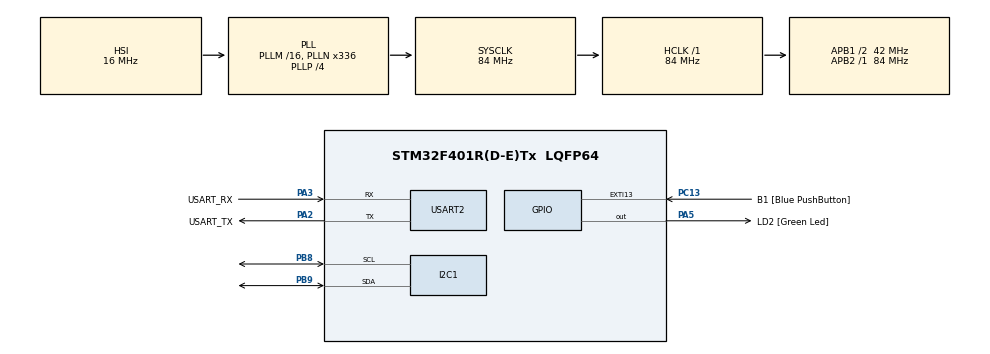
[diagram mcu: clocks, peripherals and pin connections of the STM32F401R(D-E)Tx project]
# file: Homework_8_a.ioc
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Dma.I2C1_RX.0.Direction=DMA_PERIPH_TO_MEMORY
Dma.I2C1_RX.0.FIFOMode=DMA_FIFOMODE_DISABLE
Dma.I2C1_RX.0.Instance=DMA1_Stream0
Dma.I2C1_RX.0.MemDataAlignment=DMA_MDATAALIGN_BYTE
Dma.I2C1_RX.0.MemInc=DMA_MINC_ENABLE
Dma.I2C1_RX.0.Mode=DMA_NORMAL
Dma.I2C1_RX.0.PeriphDataAlignment=DMA_PDATAALIGN_BYTE
Dma.I2C1_RX.0.PeriphInc=DMA_PINC_DISABLE
Dma.I2C1_RX.0.Priority=DMA_PRIORITY_LOW
Dma.I2C1_TX.1.Direction=DMA_MEMORY_TO_PERIPH
Dma.I2C1_TX.1.FIFOMode=DMA_FIFOMODE_DISABLE
Dma.I2C1_TX.1.Instance=DMA1_Stream7
Dma.I2C1_TX.1.MemDataAlignment=DMA_MDATAALIGN_BYTE
Dma.I2C1_TX.1.MemInc=DMA_MINC_ENABLE
Dma.I2C1_TX.1.Mode=DMA_NORMAL
Dma.I2C1_TX.1.PeriphDataAlignment=DMA_PDATAALIGN_BYTE
Dma.I2C1_TX.1.PeriphInc=DMA_PINC_DISABLE
Dma.I2C1_TX.1.Priority=DMA_PRIORITY_LOW
Dma.Request0=I2C1_RX
Dma.Request1=I2C1_TX
Dma.Request2=USART2_TX
Dma.USART2_TX.2.Direction=DMA_MEMORY_TO_PERIPH
Dma.USART2_TX.2.FIFOMode=DMA_FIFOMODE_DISABLE
Dma.USART2_TX.2.Instance=DMA1_Stream6
Dma.USART2_TX.2.MemDataAlignment=DMA_MDATAALIGN_BYTE
Dma.USART2_TX.2.MemInc=DMA_MINC_ENABLE
Dma.USART2_TX.2.Mode=DMA_NORMAL
Dma.USART2_TX.2.PeriphDataAlignment=DMA_PDATAALIGN_BYTE
Dma.USART2_TX.2.PeriphInc=DMA_PINC_DISABLE
Dma.USART2_TX.2.Priority=DMA_PRIORITY_LOW
Mcu.Family=STM32F4
Mcu.Name=STM32F401R(D-E)Tx
Mcu.Package=LQFP64
NVIC.DMA1_Stream0_IRQn=true\:0\:0\:false\:false\:true\:false\:true\:true
NVIC.DMA1_Stream6_IRQn=true\:0\:0\:false\:false\:true\:false\:true\:true
NVIC.DMA1_Stream7_IRQn=true\:0\:0\:false\:false\:true\:false\:true\:true
NVIC.I2C1_ER_IRQn=true\:0\:0\:false\:false\:true\:true\:true\:true
NVIC.I2C1_EV_IRQn=true\:0\:0\:false\:false\:true\:true\:true\:true
NVIC.PriorityGroup=NVIC_PRIORITYGROUP_0
NVIC.TIM3_IRQn=true\:0\:0\:false\:false\:true\:true\:true\:true
NVIC.USART2_IRQn=true\:0\:0\:false\:false\:true\:true\:true\:true
PA13.GPIO_Label=TMS
PA13.Mode=Serial_Wire
PA13.Signal=SYS_JTMS-SWDIO
PA14.GPIO_Label=TCK
PA14.Mode=Serial_Wire
PA14.Signal=SYS_JTCK-SWCLK
PA2.GPIO_Label=USART_TX
PA2.GPIO_Mode=GPIO_MODE_AF_PP
PA2.GPIO_PuPd=GPIO_NOPULL
PA2.GPIO_Speed=GPIO_SPEED_FREQ_LOW
PA2.Mode=Asynchronous
PA2.Signal=USART2_TX
PA3.GPIO_Label=USART_RX
PA3.GPIO_Mode=GPIO_MODE_AF_PP
PA3.GPIO_PuPd=GPIO_NOPULL
PA3.GPIO_Speed=GPIO_SPEED_FREQ_LOW
PA3.Mode=Asynchronous
PA3.Signal=USART2_RX
PA5.GPIO_Label=LD2 [Green Led]
PA5.GPIO_Mode=GPIO_MODE_OUTPUT_PP
PA5.GPIO_PuPd=GPIO_NOPULL
PA5.GPIO_Speed=GPIO_SPEED_FREQ_LOW
PA5.Signal=GPIO_Output
PB3.GPIO_Label=SWO
PB3.Signal=SYS_JTDO-SWO
PB8.Mode=I2C
PB8.Signal=I2C1_SCL
PB9.Mode=I2C
PB9.Signal=I2C1_SDA
PC13-ANTI_TAMP.GPIO_Label=B1 [Blue PushButton]
PC13-ANTI_TAMP.GPIO_ModeDefaultEXTI=GPIO_MODE_IT_FALLING
PC13-ANTI_TAMP.GPIO_PuPd=GPIO_NOPULL
PC13-ANTI_TAMP.Signal=GPXTI13
PC14-OSC32_IN.Mode=LSE-External-Oscillator
PC14-OSC32_IN.Signal=RCC_OSC32_IN
PC15-OSC32_OUT.Mode=LSE-External-Oscillator
PC15-OSC32_OUT.Signal=RCC_OSC32_OUT
PH0\ -\ OSC_IN.Mode=HSE-External-Clock-Source
PH0\ -\ OSC_IN.Signal=RCC_OSC_IN
PH1\ -\ OSC_OUT.Mode=HSE-External-Clock-Source
PH1\ -\ OSC_OUT.Signal=RCC_OSC_OUT
ProjectManager.HeapSize=0x200
ProjectManager.StackSize=0x400
ProjectManager.TargetToolchain=STM32CubeIDE
RCC.48MHZClocksFreq_Value=48000000
RCC.AHBFreq_Value=84000000
RCC.APB1CLKDivider=RCC_HCLK_DIV2
RCC.APB1Freq_Value=42000000
RCC.APB1TimFreq_Value=84000000
RCC.APB2Freq_Value=84000000
RCC.APB2TimFreq_Value=84000000
RCC.CortexFreq_Value=84000000
RCC.HCLKFreq_Value=84000000
RCC.HSE_VALUE=8000000
RCC.HSI_VALUE=16000000
RCC.PLLN=336
RCC.PLLP=RCC_PLLP_DIV4
RCC.PLLQ=7
RCC.SYSCLKFreq_VALUE=84000000
RCC.SYSCLKSource=RCC_SYSCLKSOURCE_PLLCLK
RCC.VCOOutputFreq_Value=336000000
TIM3.Period=9999
TIM3.Prescaler=8399
TIM3.TIM_MasterOutputTrigger=TIM_TRGO_UPDATE
USART2.VirtualMode=VM_ASYNC
VP_TIM3_VS_ClockSourceINT.Mode=Internal
board=NUCLEO-F401RE

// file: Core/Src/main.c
/* USER CODE BEGIN Header */
/**
  ******************************************************************************
  * @file           : main.c
  * @brief          : Main program body
  ******************************************************************************
  * @attention
  *
  * Copyright (c) 2024 STMicroelectronics.
  * All rights reserved.
  *
  * This software is licensed under terms that can be found in the LICENSE file
  * in the root directory of this software component.
  * If no LICENSE file comes with this software, it is provided AS-IS.
  *
  ******************************************************************************
  */
/* USER CODE END Header */
#include "main.h"

/* USER CODE BEGIN Includes */
#include "../inc/LIS2DE.h"
#include <stdio.h>
/* USER CODE END Includes */

/* USER CODE BEGIN PD */
#define DELAY_I2C 100
#define GREEN_LED_PIN GPIOA, GPIO_PIN_5
/* USER CODE END PD */

I2C_HandleTypeDef hi2c1;

TIM_HandleTypeDef htim3;

UART_HandleTypeDef huart2;
DMA_HandleTypeDef hdma_usart2_tx;

void SystemClock_Config(void);
static void MX_GPIO_Init(void);
static void MX_DMA_Init(void);
static void MX_USART2_UART_Init(void);
static void MX_I2C1_Init(void);
static void MX_TIM3_Init(void);

/* USER CODE BEGIN 0 */

uint8_t LIS2DE_accel_addr_read = 0;
uint8_t LIS2DE_accel_addr_write = 0;

/**
 * @brief Find if the accelerometer is an LIS2DE or an LIS2DE12
 * 		  and do the configuration of the registers
 */
void FindLIS2DE (void)
{
	char message[100];
	int message_length = snprintf(message, 100, "LIS2DE DEMO START\r\n");
	HAL_UART_Transmit_DMA(&huart2, (uint8_t *)message, message_length);

	/** LIS2DE **/
	if(HAL_I2C_Master_Transmit(&hi2c1, LIS2DE_ADDR_READ, 0, 1, DELAY_I2C) == HAL_OK)
	{
		 message_length = snprintf(message, 100, "LIS2DE FOUND\r\n");
		 HAL_UART_Transmit_DMA(&huart2, (uint8_t *)message, message_length);

		 LIS2DE_accel_addr_read  = LIS2DE_ADDR_READ;
		 LIS2DE_accel_addr_write = LIS2DE_ADDR_WRITE;

	}

	/** LIS2DE12 **/
	else if(HAL_I2C_Master_Transmit(&hi2c1, LIS2DE12_ADDR_READ, 0, 1, DELAY_I2C) == HAL_OK)
	{
		 message_length = snprintf(message, 100, "LIS2DE12 FOUND\r\n");
		 HAL_UART_Transmit_DMA(&huart2, (uint8_t *)message, message_length);

		 LIS2DE_accel_addr_read  = LIS2DE12_ADDR_READ;
		 LIS2DE_accel_addr_write = LIS2DE12_ADDR_WRITE;

	}

	/** Error finding the accelerometer **/
	else
	{
		 message_length = snprintf(message, 100, "NO LIS2DE FOUND\r\n");
		 HAL_UART_Transmit_DMA(&huart2, (uint8_t *)message, message_length);
		 Error_Handler();
	}
}

/**
 * @brief Configure the LIS2DE CTRL1 register
 */
void ConfigLIS2DERegCTRL1 (void)
{
	char message[100];
	int message_length;

	uint8_t CTRL_DATA[2];
	CTRL_DATA[0] = LIS2DE_CTRL_REG1;
	CTRL_DATA[1] = 0b00011111;

	/** Configure CTRL1 register **/
	if(HAL_I2C_Master_Transmit(&hi2c1, LIS2DE_accel_addr_write, CTRL_DATA, 2, DELAY_I2C) == HAL_OK)
	{
		message_length = snprintf(message, 100, "LIS2DE OK: CTRL REG1\r\n");
		HAL_UART_Transmit_DMA(&huart2, (uint8_t *)message, message_length);
	}

	/** Error while configuring CTRL1 register **/
	else
	{
		message_length = snprintf(message, 100, "LIS2DE ERROR: CTRL REG 1\r\n");
		HAL_UART_Transmit_DMA(&huart2, (uint8_t *)message, message_length);

	}
}

/**
 * @brief Retrieve the value of X, Y and Z of the accelerometer
 */
void GetAndSend_XYZ_LIS2DE(void)
{
	int8_t x_val, y_val, z_val;
	uint8_t CTRL_DATA;
	char message[100];

	/** X Value **/
	CTRL_DATA = LIS2DE_OUT_X_H;
	if (HAL_I2C_Master_Transmit(&hi2c1, LIS2DE_accel_addr_write, &CTRL_DATA, 1, DELAY_I2C) != HAL_OK){
	  Error_Handler();
	}
	if (HAL_I2C_Master_Receive(&hi2c1, LIS2DE_accel_addr_read, (uint8_t*) &x_val, 1, DELAY_I2C) != HAL_OK){
	  Error_Handler();
	}

	/** Y Value **/
	CTRL_DATA = LIS2DE_OUT_Y_H;
	if(HAL_I2C_Master_Transmit(&hi2c1, LIS2DE_accel_addr_write, &CTRL_DATA, 1, DELAY_I2C) != HAL_OK){
	  Error_Handler();
	}

	if(HAL_I2C_Master_Receive(&hi2c1, LIS2DE_accel_addr_read, (uint8_t*) &y_val, 1, DELAY_I2C) != HAL_OK){
	  Error_Handler();
	}

	/** Z Value **/
	CTRL_DATA = LIS2DE_OUT_Z_H;
	if(HAL_I2C_Master_Transmit(&hi2c1, LIS2DE_accel_addr_write, &CTRL_DATA, 1, DELAY_I2C) != HAL_OK){
	  Error_Handler();
	}

	if(HAL_I2C_Master_Receive(&hi2c1, LIS2DE_accel_addr_read, (uint8_t*) &z_val, 1, DELAY_I2C) != HAL_OK){
	  Error_Handler();
	}

	/** Send the value on a terminal **/
	int message_length = snprintf(message,100,"X: %+.2f\r\nY: %+.2f\r\nZ: %+.2f\r\n\r\n", x_val/64.0,
																					  	  y_val/64.0,
																						  z_val/64.0);
	HAL_UART_Transmit_DMA(&huart2, (uint8_t *)message, message_length);
}

/**
 * @brief Timer Callback function, calling the function to recover and send data
 */
void HAL_TIM_PeriodElapsedCallback(TIM_HandleTypeDef *htim)
{
    if (htim->Instance == TIM3)
    {
    	GetAndSend_XYZ_LIS2DE();   // Read and send data from the accelerometer every second
    }
}

/* USER CODE END 0 */

int main(void)
{

  /* MCU Configuration--------------------------------------------------------*/

  /* Reset of all peripherals, Initializes the Flash interface and the Systick. */
  HAL_Init();

  /* Configure the system clock */
  SystemClock_Config();

  /* Initialize all configured peripherals */
  MX_GPIO_Init();
  MX_DMA_Init();
  MX_USART2_UART_Init();
  MX_I2C1_Init();
  MX_TIM3_Init();
  /* USER CODE BEGIN 2 */

  /** Start the timer (1 sec) **/
  if (HAL_TIM_Base_Start_IT(&htim3) != HAL_OK)		//TODO : TIMER BLOCK EVERYTHING
  {
      Error_Handler();
  }

  /** Initialization of the LIS2DE **/
  FindLIS2DE();
  ConfigLIS2DERegCTRL1();

  /* USER CODE END 2 */

  /* Infinite loop */
  /* USER CODE BEGIN WHILE */
  while (1)
  {
	  HAL_GPIO_TogglePin(GREEN_LED_PIN);
	  HAL_Delay(1000);
    /* USER CODE END WHILE */

  }
}

void SystemClock_Config(void)
{
  RCC_OscInitTypeDef RCC_OscInitStruct = {0};
  RCC_ClkInitTypeDef RCC_ClkInitStruct = {0};

  /** Configure the main internal regulator output voltage
  */
  __HAL_RCC_PWR_CLK_ENABLE();
  __HAL_PWR_VOLTAGESCALING_CONFIG(PWR_REGULATOR_VOLTAGE_SCALE2);

  /** Initializes the RCC Oscillators according to the specified parameters
  * in the RCC_OscInitTypeDef structure.
  */
  RCC_OscInitStruct.OscillatorType = RCC_OSCILLATORTYPE_HSI;
  RCC_OscInitStruct.HSIState = RCC_HSI_ON;
  RCC_OscInitStruct.HSICalibrationValue = RCC_HSICALIBRATION_DEFAULT;
  RCC_OscInitStruct.PLL.PLLState = RCC_PLL_ON;
  RCC_OscInitStruct.PLL.PLLSource = RCC_PLLSOURCE_HSI;
  RCC_OscInitStruct.PLL.PLLM = 16;
  RCC_OscInitStruct.PLL.PLLN = 336;
  RCC_OscInitStruct.PLL.PLLP = RCC_PLLP_DIV4;
  RCC_OscInitStruct.PLL.PLLQ = 7;
  if (HAL_RCC_OscConfig(&RCC_OscInitStruct) != HAL_OK)
  {
    Error_Handler();
  }

  /** Initializes the CPU, AHB and APB buses clocks
  */
  RCC_ClkInitStruct.ClockType = RCC_CLOCKTYPE_HCLK|RCC_CLOCKTYPE_SYSCLK
                              |RCC_CLOCKTYPE_PCLK1|RCC_CLOCKTYPE_PCLK2;
  RCC_ClkInitStruct.SYSCLKSource = RCC_SYSCLKSOURCE_PLLCLK;
  RCC_ClkInitStruct.AHBCLKDivider = RCC_SYSCLK_DIV1;
  RCC_ClkInitStruct.APB1CLKDivider = RCC_HCLK_DIV2;
  RCC_ClkInitStruct.APB2CLKDivider = RCC_HCLK_DIV1;

  if (HAL_RCC_ClockConfig(&RCC_ClkInitStruct, FLASH_LATENCY_2) != HAL_OK)
  {
    Error_Handler();
  }
}

static void MX_I2C1_Init(void)
{

  hi2c1.Instance = I2C1;
  hi2c1.Init.ClockSpeed = 100000;
  hi2c1.Init.DutyCycle = I2C_DUTYCYCLE_2;
  hi2c1.Init.OwnAddress1 = 0;
  hi2c1.Init.AddressingMode = I2C_ADDRESSINGMODE_7BIT;
  hi2c1.Init.DualAddressMode = I2C_DUALADDRESS_DISABLE;
  hi2c1.Init.OwnAddress2 = 0;
  hi2c1.Init.GeneralCallMode = I2C_GENERALCALL_DISABLE;
  hi2c1.Init.NoStretchMode = I2C_NOSTRETCH_DISABLE;
  if (HAL_I2C_Init(&hi2c1) != HAL_OK)
  {
    Error_Handler();
  }

}

static void MX_TIM3_Init(void)
{

  TIM_ClockConfigTypeDef sClockSourceConfig = {0};
  TIM_MasterConfigTypeDef sMasterConfig = {0};

  htim3.Instance = TIM3;
  htim3.Init.Prescaler = 8399;
  htim3.Init.CounterMode = TIM_COUNTERMODE_UP;
  htim3.Init.Period = 9999;
  htim3.Init.ClockDivision = TIM_CLOCKDIVISION_DIV1;
  htim3.Init.AutoReloadPreload = TIM_AUTORELOAD_PRELOAD_DISABLE;
  if (HAL_TIM_Base_Init(&htim3) != HAL_OK)
  {
    Error_Handler();
  }
  sClockSourceConfig.ClockSource = TIM_CLOCKSOURCE_INTERNAL;
  if (HAL_TIM_ConfigClockSource(&htim3, &sClockSourceConfig) != HAL_OK)
  {
    Error_Handler();
  }
  sMasterConfig.MasterOutputTrigger = TIM_TRGO_UPDATE;
  sMasterConfig.MasterSlaveMode = TIM_MASTERSLAVEMODE_DISABLE;
  if (HAL_TIMEx_MasterConfigSynchronization(&htim3, &sMasterConfig) != HAL_OK)
  {
    Error_Handler();
  }

}

static void MX_USART2_UART_Init(void)
{

  huart2.Instance = USART2;
  huart2.Init.BaudRate = 115200;
  huart2.Init.WordLength = UART_WORDLENGTH_8B;
  huart2.Init.StopBits = UART_STOPBITS_1;
  huart2.Init.Parity = UART_PARITY_NONE;
  huart2.Init.Mode = UART_MODE_TX_RX;
  huart2.Init.HwFlowCtl = UART_HWCONTROL_NONE;
  huart2.Init.OverSampling = UART_OVERSAMPLING_16;
  if (HAL_UART_Init(&huart2) != HAL_OK)
  {
    Error_Handler();
  }

}

static void MX_DMA_Init(void)
{

  /* DMA controller clock enable */
  __HAL_RCC_DMA1_CLK_ENABLE();

  /* DMA interrupt init */
  /* DMA1_Stream6_IRQn interrupt configuration */
  HAL_NVIC_SetPriority(DMA1_Stream6_IRQn, 0, 0);
  HAL_NVIC_EnableIRQ(DMA1_Stream6_IRQn);

}

static void MX_GPIO_Init(void)
{
  GPIO_InitTypeDef GPIO_InitStruct = {0};

  /* GPIO Ports Clock Enable */
  __HAL_RCC_GPIOC_CLK_ENABLE();
  __HAL_RCC_GPIOH_CLK_ENABLE();
  __HAL_RCC_GPIOA_CLK_ENABLE();
  __HAL_RCC_GPIOB_CLK_ENABLE();

  /*Configure GPIO pin Output Level */
  HAL_GPIO_WritePin(LD2_GPIO_Port, LD2_Pin, GPIO_PIN_RESET);

  /*Configure GPIO pin : B1_Pin */
  GPIO_InitStruct.Pin = B1_Pin;
  GPIO_InitStruct.Mode = GPIO_MODE_IT_FALLING;
  GPIO_InitStruct.Pull = GPIO_NOPULL;
  HAL_GPIO_Init(B1_GPIO_Port, &GPIO_InitStruct);

  /*Configure GPIO pin : LD2_Pin */
  GPIO_InitStruct.Pin = LD2_Pin;
  GPIO_InitStruct.Mode = GPIO_MODE_OUTPUT_PP;
  GPIO_InitStruct.Pull = GPIO_NOPULL;
  GPIO_InitStruct.Speed = GPIO_SPEED_FREQ_LOW;
  HAL_GPIO_Init(LD2_GPIO_Port, &GPIO_InitStruct);

}

void Error_Handler(void)
{
  __disable_irq();
  while (1)
  {
  }
}
